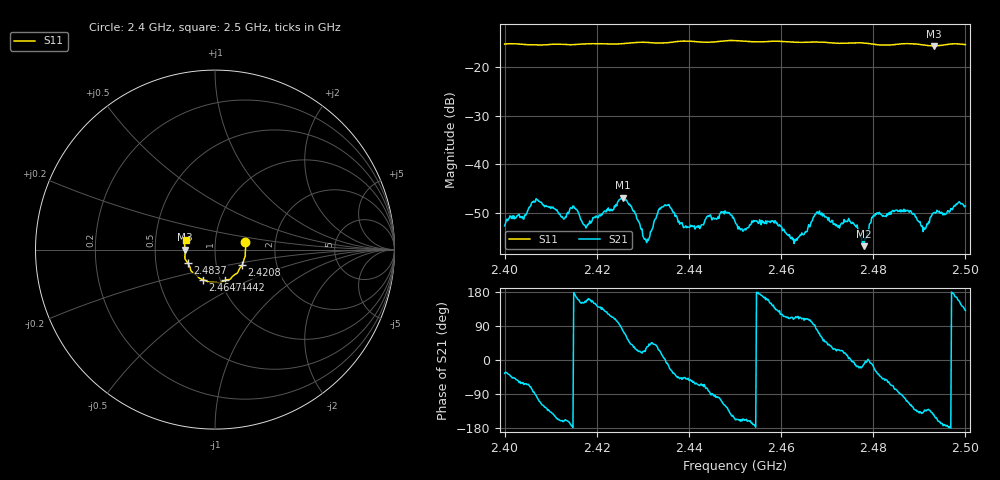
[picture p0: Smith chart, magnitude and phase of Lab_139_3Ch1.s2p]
# Hz S RI R 50
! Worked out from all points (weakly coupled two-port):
!   601 points, 2.4 GHz to 2.5 GHz, reference 50 ohm
!   highest |S21| = -46.80 dB at 2.4257 GHz (marker M1); lowest = -56.8 dB at 2.478 GHz (marker M2)
!   lowest |S11| = -15.6 dB at 2.4932 GHz (marker M3), VSWR 1.40, Z = 35.8 - j0.0858 ohm
!   |S11| at or under -10 dB: start of sweep to end of sweep
!   S12 and S22 are empty: the file has one direction only
!   S11 on the Smith chart (normalised r, x): 2.4 GHz: 1.40, +0.12; 2.4208 GHz: 1.33, -0.24; 2.4442 GHz: 1.05, -0.37; 2.4647 GHz: 0.83, -0.29; 2.4837 GHz: 0.73, -0.11; 2.5 GHz: 0.72, +0.08
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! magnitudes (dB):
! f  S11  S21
! 2.4 GHz  -15.2  -52.6
! 2.4068 GHz  -15.4  -47.0
! 2.4167 GHz  -15.2  -51.5
! 2.4208 GHz  -15.2  -50.6
! 2.4257 GHz  -15.2  -46.8
! 2.4307 GHz  -14.9  -55.6
! 2.4333 GHz  -15.0  -49.6
! 2.4353 GHz  -15.0  -48.3
! 2.4393 GHz  -14.6  -52.6
! 2.4442 GHz  -14.9  -50.6
! 2.45 GHz  -14.5  -51.7
! 2.4647 GHz  -14.9  -54.3
! 2.4667 GHz  -14.8  -51.7
! 2.475 GHz  -15.0  -51.6
! 2.478 GHz  -15.0  -56.8
! 2.4802 GHz  -15.3  -50.4
! 2.4833 GHz  -15.5  -50.0
! 2.4837 GHz  -15.4  -49.8
! 2.4878 GHz  -15.2  -49.8
! 2.491 GHz  -15.4  -53.0
! 2.4932 GHz  -15.6  -49.9
! 2.5 GHz  -15.3  -48.5
